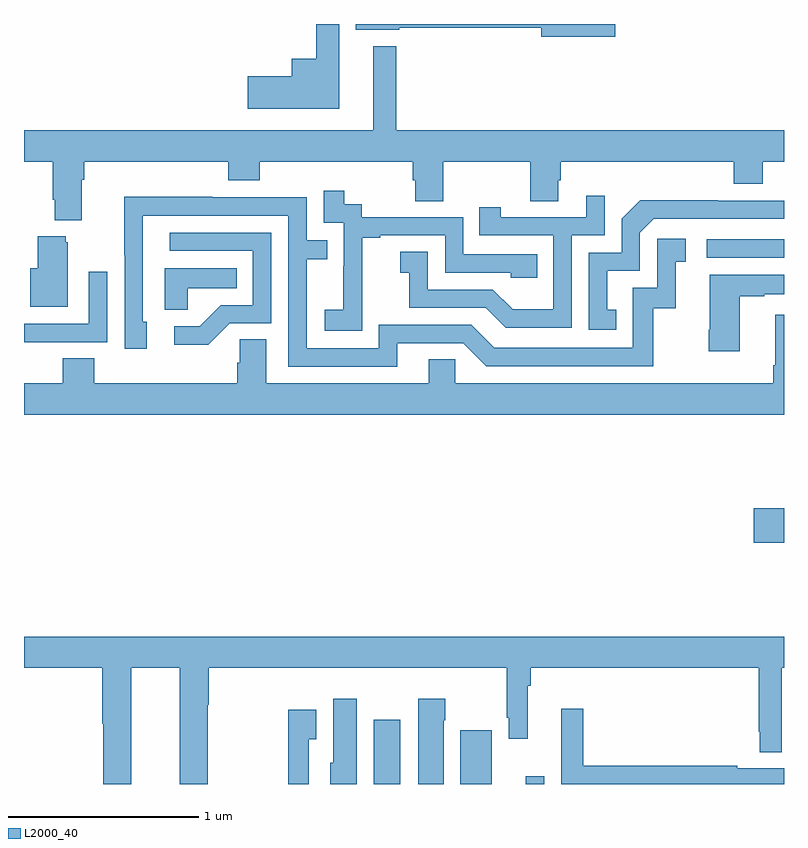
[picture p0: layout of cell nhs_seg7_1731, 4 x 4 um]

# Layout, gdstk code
import gdstk
lib = gdstk.Library(unit=1e-6, precision=1e-09)
def R(c, l, rs):  # rectangles x0, y0, x1, y1
    for r in rs: c.add(gdstk.rectangle(r[:2], r[2:], *l))
def P(c, l, *ps):  # polygons
    for p in ps: c.add(gdstk.Polygon(p, *l))
L2000_40 = (2000, 40)

nhs_seg7_1731 = lib.new_cell('nhs_seg7_1731')
R(nhs_seg7_1731, L2000_40, [(230.84,1004,230.98,1004.338), (231.296,1004,231.463,1004.284), (231.641,1004,231.738,1004.041), (232.842,1005.269,233,1005.452), (232.593,1006.77,233,1006.866)])
P(nhs_seg7_1731, L2000_40, [(230.659,1008),(230.538,1008),(230.538,1007.818),(230.408,1007.818),(230.408,1007.726),(230.178,1007.726),(230.178,1007.555),(230.659,1007.555)],
  [(232.111,1008),(230.747,1008),(230.747,1007.969),(230.974,1007.969),(230.974,1007.98),(231.722,1007.98),(231.722,1007.933),(232.111,1007.933)],
  [(229.303,1007.18),(229.316,1007.18),(229.316,1007.276),(230.075,1007.276),(230.075,1007.177),(230.24,1007.177),(230.24,1007.276),(231.047,1007.276),(231.047,1007.178),(231.059,1007.178),(231.059,1007.068),(231.207,1007.068),(231.207,1007.276),(231.664,1007.276),(231.664,1007.068),(231.811,1007.068),(231.811,1007.178),(231.824,1007.178),(231.824,1007.276),(232.736,1007.276),(232.736,1007.159),(232.888,1007.159),(232.888,1007.276),(233,1007.276),(233,1007.44),(230.959,1007.44),(230.959,1007.884),(230.837,1007.884),(230.837,1007.44),(229,1007.44),(229,1007.276),(229.151,1007.276),(229.151,1007.074),(229.163,1007.074),(229.163,1006.967),(229.303,1006.967)],
  [(230.781,1006.591),(230.78,1006.591),(230.78,1006.875),(230.875,1006.875),(230.875,1006.887),(231.216,1006.887),(231.216,1006.692),(231.561,1006.692),(231.561,1006.665),(231.701,1006.665),(231.701,1006.788),(231.312,1006.788),(231.312,1006.983),(230.778,1006.983),(230.778,1007.052),(230.686,1007.052),(230.686,1007.122),(230.577,1007.122),(230.577,1006.953),(230.682,1006.953),(230.682,1006.724),(230.681,1006.724),(230.681,1006.495),(230.583,1006.495),(230.583,1006.385),(230.781,1006.385)],
  [(231.882,1006.887),(232.056,1006.887),(232.056,1007.095),(231.959,1007.095),(231.959,1006.983),(231.508,1006.983),(231.508,1007.035),(231.397,1007.035),(231.397,1006.887),(231.786,1006.887),(231.786,1006.498),(231.572,1006.498),(231.468,1006.602),(231.126,1006.602),(231.126,1006.801),(230.979,1006.801),(230.979,1006.691),(231.028,1006.691),(231.028,1006.506),(231.431,1006.506),(231.536,1006.401),(231.882,1006.401)],
  [(230.965,1006.32),(231.312,1006.32),(231.432,1006.2),(232.312,1006.2),(232.312,1006.503),(232.43,1006.503),(232.43,1006.749),(232.483,1006.749),(232.483,1006.87),(232.332,1006.87),(232.332,1006.611),(232.203,1006.611),(232.203,1006.296),(231.474,1006.296),(231.354,1006.416),(230.868,1006.416),(230.868,1006.293),(230.487,1006.293),(230.487,1006.762),(230.597,1006.762),(230.597,1006.863),(230.487,1006.863),(230.487,1007.088),(229.991,1007.088),(229.991,1007.09),(229.528,1007.09),(229.528,1006.783),(229.53,1006.783),(229.53,1006.29),(229.645,1006.29),(229.645,1006.434),(229.626,1006.434),(229.626,1006.992),(230.391,1006.992),(230.391,1006.197),(230.965,1006.197)],
  [(232.118,1006.497),(232.069,1006.497),(232.069,1006.701),(232.242,1006.701),(232.242,1006.902),(232.314,1006.974),(233,1006.974),(233,1007.07),(232.652,1007.07),(232.652,1007.072),(232.244,1007.072),(232.146,1006.974),(232.146,1006.797),(231.972,1006.797),(231.972,1006.392),(232.118,1006.392)],
  [(230.082,1006.425),(230.301,1006.425),(230.301,1006.902),(229.767,1006.902),(229.767,1006.806),(230.205,1006.806),(230.205,1006.521),(230.036,1006.521),(229.925,1006.41),(229.791,1006.41),(229.791,1006.313),(229.969,1006.313)],
  [(229.231,1006.851),(229.22,1006.851),(229.22,1006.882),(229.073,1006.882),(229.073,1006.714),(229.034,1006.714),(229.034,1006.511),(229.231,1006.511)],
  [(229.863,1006.61),(230.12,1006.61),(230.12,1006.714),(229.742,1006.714),(229.742,1006.495),(229.863,1006.495)],
  [(229.121,1006.326),(229.437,1006.326),(229.437,1006.696),(229.341,1006.696),(229.341,1006.422),(229,1006.422),(229,1006.325),(229.121,1006.325)],
  [(232.768,1006.567),(232.895,1006.567),(232.895,1006.577),(233,1006.577),(233,1006.681),(232.61,1006.681),(232.61,1006.39),(232.603,1006.39),(232.603,1006.278),(232.768,1006.278)],
  [(233,1006.471),(232.955,1006.471),(232.955,1006.204),(232.943,1006.204),(232.943,1006.108),(231.27,1006.108),(231.27,1006.235),(231.131,1006.235),(231.131,1006.108),(230.275,1006.108),(230.275,1006.34),(230.136,1006.34),(230.136,1006.217),(230.123,1006.217),(230.123,1006.108),(229.37,1006.108),(229.37,1006.241),(229.205,1006.241),(229.205,1006.108),(229,1006.108),(229,1005.944),(233,1005.944)],
  [(229.564,1004.612),(229.82,1004.612),(229.82,1004),(229.968,1004),(229.968,1004.416),(229.973,1004.416),(229.973,1004.612),(231.54,1004.612),(231.54,1004.35),(231.552,1004.35),(231.552,1004.238),(231.65,1004.238),(231.65,1004.516),(231.668,1004.516),(231.668,1004.612),(232.866,1004.612),(232.866,1004.275),(232.872,1004.275),(232.872,1004.168),(232.987,1004.168),(232.987,1004.612),(233,1004.612),(233,1004.776),(229,1004.776),(229,1004.612),(229.412,1004.612),(229.412,1004.316),(229.417,1004.316),(229.417,1004),(229.564,1004)],
  [(230.752,1004.449),(230.627,1004.449),(230.627,1004.112),(230.612,1004.112),(230.612,1004),(230.752,1004)],
  [(231.208,1004.336),(231.216,1004.336),(231.216,1004.449),(231.074,1004.449),(231.074,1004),(231.208,1004)],
  [(233,1004.083),(232.754,1004.083),(232.754,1004.096),(231.944,1004.096),(231.944,1004.395),(231.827,1004.395),(231.827,1004.073),(231.828,1004.073),(231.828,1004),(233,1004)],
  [(230.499,1004.236),(230.539,1004.236),(230.539,1004.392),(230.391,1004.392),(230.391,1004),(230.499,1004)])

lib.write_gds('nhs_seg7_1731.gds')
